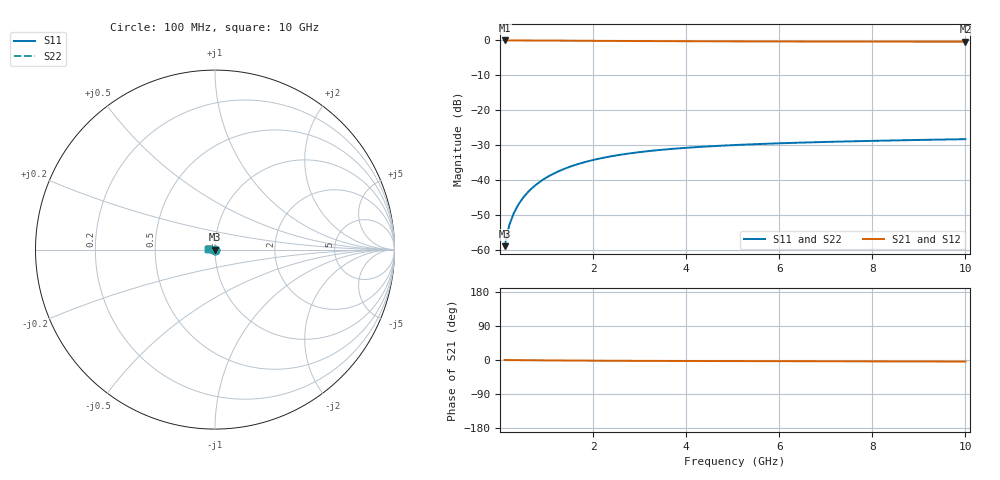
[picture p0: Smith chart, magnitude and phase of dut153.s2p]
! Touchstone file exported from HFSS 2024.1.0
!  File:  C:/UserFiles/LocalFiles/RDL_TSV_Batchsim/temp_TSV1_153_1778755220.aedt
!  Generated:  06:45:20 PM May 14, 2026
!  Design:  TSV1
!  Project:  temp_TSV1_153_1778755220
!  Setup:  Setup1
!  Solution:  Sweep
! Variables:
!  dtsv = 12.9um
!  hbump = 3um
!  htsv = 60.19um
!  lrdl = 252.1521522um
!  p = 40
!  p1 = 57.95um
!  t = 500um
!  trdl = 3um
!  wrdl = 24.89489489um
# GHz S MA R 50.000000
! Terminal data exported
! Port[1] = TSV22_T1
! Port[2] = TSV22_T2
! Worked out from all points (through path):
!   100 points, 100 MHz to 10 GHz, reference 50 ohm
!   highest |S21| = 0.00 dB at 100 MHz (marker M1); lowest = -0.4 dB at 10 GHz (marker M2)
!   lowest |S11| = -58.9 dB at 100 MHz (marker M3), VSWR 1.00, Z = 50 - j0.114 ohm
!   |S11| at or under -10 dB: start of sweep to end of sweep
!   |S22| runs from -58.9 to -28.3 dB; largest |S21 - S12| = 3.1e-15
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0.1  0.001137 -88.3  0.9999 -0.1  0.9999 -0.1  0.001137 -88.3
! Gamma 0 0 0 0
! Port Impedance 50 0 50 0
0.2  0.00227 -92.0  0.9997 -0.2  0.9997 -0.2  0.00227 -92.0
0.3  0.003402 -94.5  0.9995 -0.3  0.9995 -0.3  0.003402 -94.5
0.4  0.004527 -96.8  0.9992 -0.4  0.9992 -0.4  0.004527 -96.8
0.5  0.005641 -98.9  0.9989 -0.5  0.9989 -0.5  0.005641 -98.9
0.6  0.00674 -101.0  0.9985 -0.6  0.9985 -0.6  0.00674 -101.0
0.7  0.007821 -103.1  0.998 -0.7  0.998 -0.7  0.007821 -103.1
0.8  0.00888 -105.1  0.9974 -0.8  0.9974 -0.8  0.008881 -105.1
0.9  0.009916 -107.0  0.9968 -0.9  0.9968 -0.9  0.009916 -107.0
1.1  0.01191 -110.8  0.9955 -1.1  0.9955 -1.1  0.01191 -110.8
1.4  0.01469 -116.2  0.9933 -1.4  0.9933 -1.4  0.01469 -116.2
1.6  0.01639 -119.5  0.9917 -1.5  0.9917 -1.5  0.01639 -119.5
1.8  0.01797 -122.8  0.99 -1.6  0.99 -1.6  0.01797 -122.8
2.1  0.02013 -127.3  0.9876 -1.8  0.9876 -1.8  0.02013 -127.3
2.5  0.02262 -132.8  0.9844 -2.0  0.9844 -2.0  0.02262 -132.8
2.9  0.02474 -137.7  0.9815 -2.2  0.9815 -2.2  0.02474 -137.7
3.4  0.02693 -143.3  0.9782 -2.4  0.9782 -2.4  0.02693 -143.2
4.2  0.02967 -150.8  0.9738 -2.6  0.9738 -2.6  0.02967 -150.8
5.1  0.03197 -157.8  0.97 -2.9  0.97 -2.9  0.03197 -157.8
6.7  0.03484 -167.9  0.9653 -3.3  0.9653 -3.3  0.03484 -167.9
8.4  0.037 -176.3  0.9621 -3.7  0.9621 -3.7  0.037 -176.3
10  0.03865 177.0  0.96 -4.1  0.96 -4.1  0.03865 177.0
